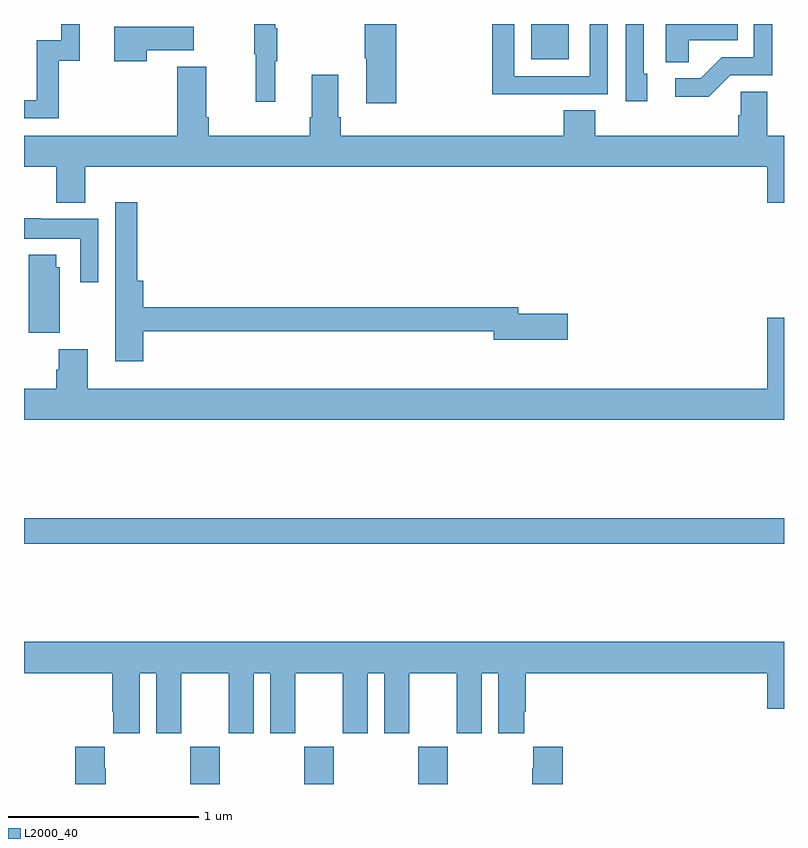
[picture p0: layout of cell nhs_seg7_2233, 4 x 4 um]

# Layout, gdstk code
import gdstk
lib = gdstk.Library(unit=1e-6, precision=1e-09)
def R(c, l, rs):  # rectangles x0, y0, x1, y1
    for r in rs: c.add(gdstk.rectangle(r[:2], r[2:], *l))
def P(c, l, *ps):  # polygons
    for p in ps: c.add(gdstk.Polygon(p, *l))
L2000_40 = (2000, 40)

nhs_seg7_2233 = lib.new_cell('nhs_seg7_2233')
R(nhs_seg7_2233, L2000_40, [(257.875,1032,258.029,1032.196), (258.475,1032,258.63,1032.196), (259.075,1032,259.23,1032.196), (257,1033.264,261,1033.4), (259.67,1035.815,259.867,1036)])
P(nhs_seg7_2233, L2000_40, [(260.281,1035.738),(260.262,1035.738),(260.262,1036),(260.166,1036),(260.166,1035.594),(260.281,1035.594)],
  [(260.499,1035.914),(260.756,1035.914),(260.756,1036),(260.378,1036),(260.378,1035.799),(260.499,1035.799)],
  [(257.183,1035.807),(257.294,1035.807),(257.294,1036),(257.196,1036),(257.196,1035.915),(257.067,1035.915),(257.067,1035.6),(257,1035.6),(257,1035.504),(257.183,1035.504)],
  [(258.959,1036),(258.793,1036),(258.793,1035.82),(258.8,1035.82),(258.8,1035.582),(258.959,1035.582)],
  [(258.323,1035.803),(258.334,1035.803),(258.334,1035.977),(258.323,1035.977),(258.323,1036),(258.213,1036),(258.213,1035.84),(258.22,1035.84),(258.22,1035.591),(258.323,1035.591)],
  [(259.757,1035.63),(260.073,1035.63),(260.073,1036),(259.977,1036),(259.977,1035.726),(259.581,1035.726),(259.581,1036),(259.465,1036),(259.465,1035.629),(259.757,1035.629)],
  [(260.718,1035.729),(260.937,1035.729),(260.937,1036),(260.841,1036),(260.841,1035.825),(260.672,1035.825),(260.561,1035.714),(260.427,1035.714),(260.427,1035.617),(260.605,1035.617)],
  [(257.645,1035.863),(257.893,1035.863),(257.893,1035.985),(257.474,1035.985),(257.474,1035.804),(257.645,1035.804)],
  [(257.323,1035.248),(260.912,1035.248),(260.912,1035.06),(261,1035.06),(261,1035.412),(260.911,1035.412),(260.911,1035.644),(260.772,1035.644),(260.772,1035.521),(260.759,1035.521),(260.759,1035.412),(260.006,1035.412),(260.006,1035.545),(259.841,1035.545),(259.841,1035.412),(258.668,1035.412),(258.668,1035.508),(258.655,1035.508),(258.655,1035.733),(258.515,1035.733),(258.515,1035.508),(258.503,1035.508),(258.503,1035.412),(257.972,1035.412),(257.972,1035.508),(257.959,1035.508),(257.959,1035.775),(257.807,1035.775),(257.807,1035.412),(257,1035.412),(257,1035.248),(257.171,1035.248),(257.171,1035.059),(257.323,1035.059)],
  [(257.627,1034.382),(259.472,1034.382),(259.472,1034.339),(259.861,1034.339),(259.861,1034.474),(259.6,1034.474),(259.6,1034.51),(257.627,1034.51),(257.627,1034.65),(257.597,1034.65),(257.597,1035.061),(257.481,1035.061),(257.481,1034.487),(257.48,1034.487),(257.48,1034.226),(257.627,1034.226)],
  [(257.391,1034.974),(257.087,1034.974),(257.087,1034.977),(257,1034.977),(257,1034.87),(257.295,1034.87),(257.295,1034.64),(257.391,1034.64)],
  [(257.188,1034.721),(257.17,1034.721),(257.17,1034.785),(257.024,1034.785),(257.024,1034.374),(257.188,1034.374)],
  [(261,1034.455),(260.912,1034.455),(260.912,1034.08),(257.336,1034.08),(257.336,1034.289),(257.183,1034.289),(257.183,1034.18),(257.171,1034.18),(257.171,1034.08),(257,1034.08),(257,1033.916),(261,1033.916)],
  [(257.608,1032.584),(257.696,1032.584),(257.696,1032.267),(257.827,1032.267),(257.827,1032.584),(258.077,1032.584),(258.077,1032.267),(258.208,1032.267),(258.208,1032.584),(258.296,1032.584),(258.296,1032.267),(258.427,1032.267),(258.427,1032.584),(258.677,1032.584),(258.677,1032.267),(258.808,1032.267),(258.808,1032.584),(258.896,1032.584),(258.896,1032.267),(259.027,1032.267),(259.027,1032.584),(259.277,1032.584),(259.277,1032.267),(259.408,1032.267),(259.408,1032.584),(259.496,1032.584),(259.496,1032.267),(259.633,1032.267),(259.633,1032.379),(259.64,1032.379),(259.64,1032.584),(260.912,1032.584),(260.912,1032.396),(261,1032.396),(261,1032.748),(257,1032.748),(257,1032.584),(257.465,1032.584),(257.465,1032.379),(257.471,1032.379),(257.471,1032.267),(257.608,1032.267)],
  [(257.43,1032.083),(257.425,1032.083),(257.425,1032.196),(257.27,1032.196),(257.27,1032),(257.43,1032)],
  [(259.835,1032.196),(259.679,1032.196),(259.679,1032.083),(259.675,1032.083),(259.675,1032),(259.835,1032)])

lib.write_gds('nhs_seg7_2233.gds')
